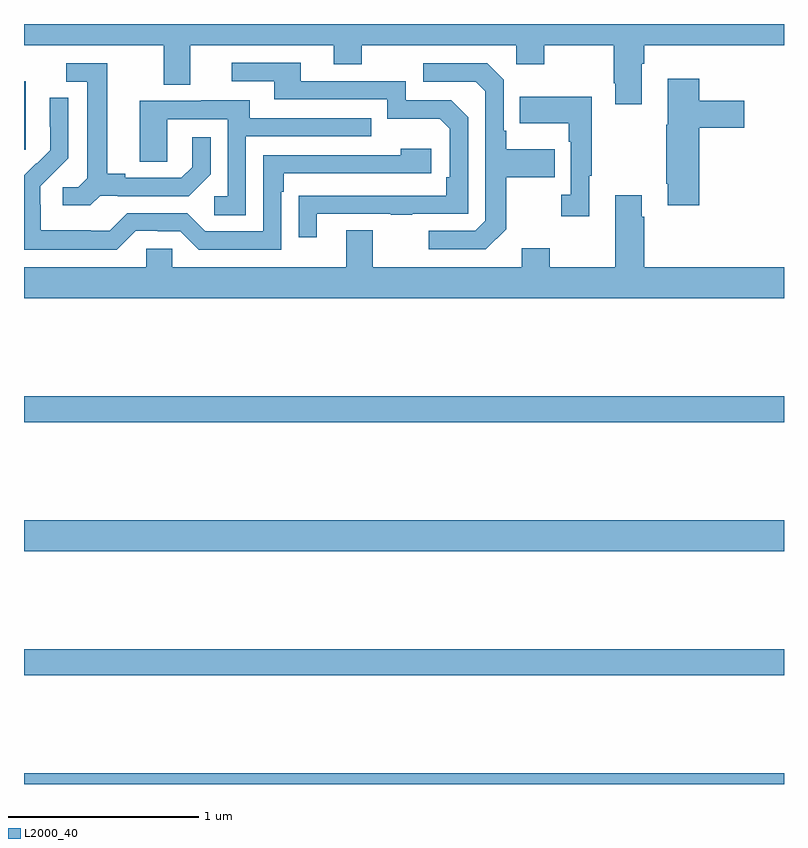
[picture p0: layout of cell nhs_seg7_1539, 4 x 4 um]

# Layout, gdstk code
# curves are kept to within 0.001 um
import gdstk
lib = gdstk.Library(unit=1e-6, precision=1e-09)
def R(c, l, rs):  # rectangles x0, y0, x1, y1
    for r in rs: c.add(gdstk.rectangle(r[:2], r[2:], *l))
def P(c, l, *ps):  # polygons
    for p in ps: c.add(gdstk.Polygon(p, *l))
L2000_40 = (2000, 40)

nhs_seg7_1539 = lib.new_cell('nhs_seg7_1539')
R(nhs_seg7_1539, L2000_40, [(215,1058,219,1058.056), (215,1058.572,219,1058.708), (215,1059.224,219,1059.388), (215,1059.904,219,1060.04), (215,1061.337,215.008,1061.698)])
P(nhs_seg7_1539, L2000_40, [(218.251,1061.792),(218.264,1061.792),(218.264,1061.888),(219,1061.888),(219,1062),(215,1062),(215,1061.888),(215.735,1061.888),(215.735,1061.68),(215.875,1061.68),(215.875,1061.888),(216.629,1061.888),(216.629,1061.789),(216.777,1061.789),(216.777,1061.888),(217.59,1061.888),(217.59,1061.789),(217.737,1061.789),(217.737,1061.888),(218.104,1061.888),(218.104,1061.689),(218.111,1061.689),(218.111,1061.577),(218.251,1061.577)],
  [(216.541,1061.001),(216.931,1061.001),(216.931,1060.996),(217.043,1060.996),(217.043,1061.001),(217.338,1061.001),(217.338,1061.508),(217.248,1061.598),(217.008,1061.598),(217.008,1061.7),(216.457,1061.7),(216.457,1061.796),(216.093,1061.796),(216.093,1061.7),(216.317,1061.7),(216.317,1061.604),(216.912,1061.604),(216.912,1061.501),(217.189,1061.501),(217.242,1061.448),(217.242,1061.194),(217.222,1061.194),(217.222,1061.097),(216.445,1061.096),(216.445,1060.878),(216.541,1060.878)],
  [(215.4,1061.097),(215.494,1061.097),(215.494,1061.094),(215.866,1061.094),(215.982,1061.21),(215.982,1061.404),(215.885,1061.404),(215.885,1061.247),(215.828,1061.19),(215.533,1061.19),(215.533,1061.213),(215.437,1061.213),(215.437,1061.793),(215.223,1061.793),(215.223,1061.697),(215.333,1061.697),(215.333,1061.189),(215.286,1061.142),(215.205,1061.142),(215.205,1061.045),(215.348,1061.045)],
  [(217.537,1060.921),(217.537,1061.194),(217.793,1061.194),(217.793,1061.341),(217.537,1061.341),(217.537,1061.437),(217.524,1061.437),(217.524,1061.706),(217.437,1061.793),(217.101,1061.793),(217.101,1061.697),(217.377,1061.697),(217.428,1061.646),(217.428,1060.965),(217.374,1060.911),(217.131,1060.911),(217.131,1060.815),(217.431,1060.815)],
  [(218.555,1061.453),(218.791,1061.453),(218.791,1061.595),(218.555,1061.595),(218.555,1061.713),(218.387,1061.713),(218.387,1061.469),(218.38,1061.469),(218.38,1061.158),(218.387,1061.158),(218.387,1061.046),(218.555,1061.046)],
  [(217.975,1061.201),(217.987,1061.201),(217.987,1061.617),(217.609,1061.617),(217.609,1061.477),(217.866,1061.477),(217.866,1061.381),(217.878,1061.381),(217.878,1061.102),(217.827,1061.102),(217.827,1060.989),(217.975,1060.989)],
  [(215.589,1060.911),(215.705,1060.911),(215.705,1060.908),(215.823,1060.908),(215.919,1060.812),(216.354,1060.812),(216.354,1061.117),(216.367,1061.117),(216.367,1061.214),(217.144,1061.214),(217.144,1061.344),(216.983,1061.344),(216.983,1061.31),(216.258,1061.31),(216.258,1060.908),(215.955,1060.908),(215.859,1061.004),(215.544,1061.004),(215.451,1060.911),(215.351,1060.911),(215.351,1060.915),(215.088,1060.915),(215.088,1061.049),(215.086,1061.049),(215.086,1061.146),(215.232,1061.294),(215.232,1061.612),(215.136,1061.612),(215.136,1061.458),(215.138,1061.458),(215.138,1061.336),(215.067,1061.265),(215.064,1061.268),(215,1061.204),(215,1060.811),(215.489,1060.811)],
  [(216.168,1061.409),(216.827,1061.409),(216.827,1061.505),(216.187,1061.505),(216.187,1061.599),(215.933,1061.599),(215.933,1061.595),(215.609,1061.595),(215.609,1061.275),(215.754,1061.275),(215.754,1061.499),(216.072,1061.499),(216.072,1061.094),(216,1061.094),(216,1060.993),(216.168,1060.993)],
  [(219,1060.72),(218.264,1060.72),(218.264,1060.985),(218.251,1060.985),(218.251,1061.098),(218.111,1061.098),(218.111,1060.72),(217.767,1060.72),(217.767,1060.819),(217.619,1060.819),(217.619,1060.72),(216.835,1060.72),(216.835,1060.915),(216.695,1060.915),(216.695,1060.72),(215.781,1060.72),(215.781,1060.818),(215.643,1060.818),(215.643,1060.72),(215,1060.72),(215,1060.556),(219,1060.556)])

lib.write_gds('nhs_seg7_1539.gds')
